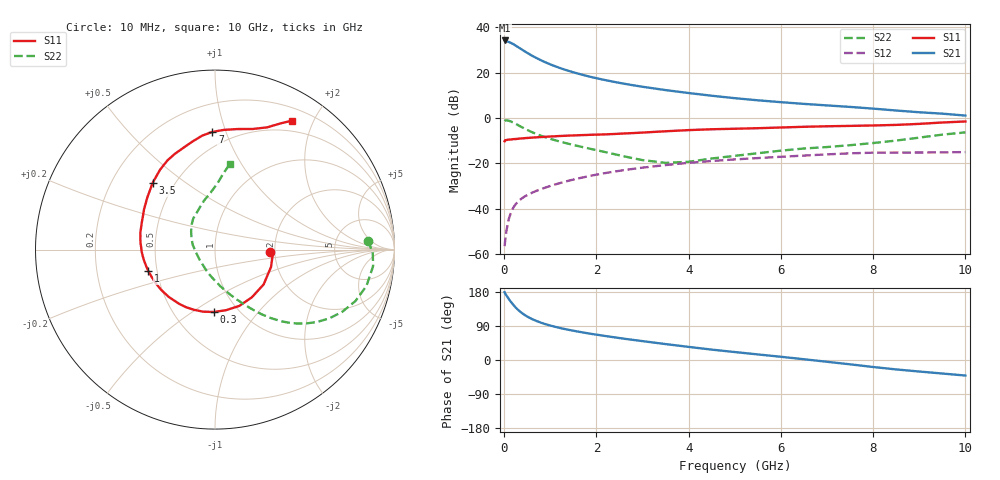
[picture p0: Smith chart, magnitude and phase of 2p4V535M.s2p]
! (c) 2009  Infineon Technologies AG, Munich
! Infineon Technologies  Discrete & RF Semiconductors
! BFP420
! VCE =  4.5 V,  IC =  35 mA
! Common Emitter S-Parameters:  Nov 2009
# GHz  S  MA  R  50
!  f  S11  S21  S12  S22
! GHz  MAG  ANG  MAG  ANG  MAG  ANG  MAG  ANG
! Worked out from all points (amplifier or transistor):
!   46 points, 10 MHz to 10 GHz, reference 50 ohm
!   highest |S21| = 34.1 dB at 10 MHz (marker M1)
!   |S21| within 3 dB of that: start of sweep to 308 MHz
!   unconditionally stable (mu >= 1): start of sweep to 32.8 MHz; 1.475 GHz to end of sweep
!   at 300 MHz: K = 0.50, MSG = 34.0 dB, |S12| = -36.8 dB
!   at 1.7 GHz: K = 1.04, MAG = 21.4 dB, |S12| = -26.2 dB
!   at 10 GHz: K = 1.06, MAG = 6.6 dB, |S12| = -15.0 dB
!   lowest NFmin = 1.64 dB at 900 MHz
!   S11 on the Smith chart (normalised r, x): 10 MHz: 1.88, -0.06; 300 MHz: 0.78, -0.61; 1 GHz: 0.45, -0.13; 3.5 GHz: 0.38, +0.38; 7 GHz: 0.39, +0.90; 10 GHz: 0.36, +1.70
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0.01  0.3069 -2.7  50.9 178.7  0.0015 69.0  0.8544 3.4
0.02  0.3225 -5.7  49.43 175.5  0.0019 49.2  0.8792 -1.3
0.05  0.3268 -17.2  48.65 170.1  0.0033 63.3  0.8857 -6.0
0.1  0.3333 -35.6  47.21 161.2  0.0059 66.7  0.8679 -13.5
0.15  0.3359 -52.2  44.85 152.9  0.0084 66.5  0.8328 -20.2
0.2  0.3418 -66.6  42.16 145.4  0.0107 65.4  0.7895 -26.0
0.25  0.3431 -79.7  39.2 138.5  0.0126 64.0  0.7437 -31.0
0.3  0.3476 -91.1  36.47 132.6  0.0144 62.7  0.6974 -35.3
0.4  0.3552 -109.2  31.38 122.6  0.0174 60.6  0.6141 -42.1
0.45  0.3593 -116.7  29.14 118.5  0.0188 60.0  0.5775 -44.8
0.5  0.3622 -123.4  27.11 114.7  0.02 59.8  0.5444 -47.2
0.6  0.3686 -134.2  23.67 108.3  0.0224 59.3  0.4883 -51.1
0.8  0.3795 -150.4  18.58 98.4  0.0271 59.4  0.4055 -57.0
1  0.3902 -162.1  15.14 90.9  0.0318 59.5  0.3471 -61.9
1.3  0.4041 -174.8  11.71 82.1  0.039 59.2  0.2855 -68.4
1.7  0.4196 172.3  8.913 72.9  0.0488 57.7  0.2282 -77.2
2.4  0.4438 154.6  6.188 59.7  0.0661 52.9  0.1585 -95.2
3.5  0.5091 133.0  4.107 42.0  0.0917 43.1  0.1026 -146.2
5.5  0.5948 107.0  2.448 14.7  0.1308 24.2  0.1672 142.7
7  0.6559 91.3  1.888 -4.7  0.1577 10.1  0.2289 116.5
8.5  0.7032 72.8  1.458 -24.9  0.1728 -7.0  0.3177 94.5
10  0.8364 59.2  1.128 -41.0  0.1771 -18.4  0.4811 80.3
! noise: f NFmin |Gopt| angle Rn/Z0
0.9  1.64  0.3  -155  0.13
1.8  1.9  0.37  -142  0.15
2.4  2.1  0.34  -134  0.19
3  2.11  0.4  -126  0.22
4  2.25  0.5  -110  0.35
5  2.73  0.54  -94  0.59
6  3.16  0.59  -82  0.84
